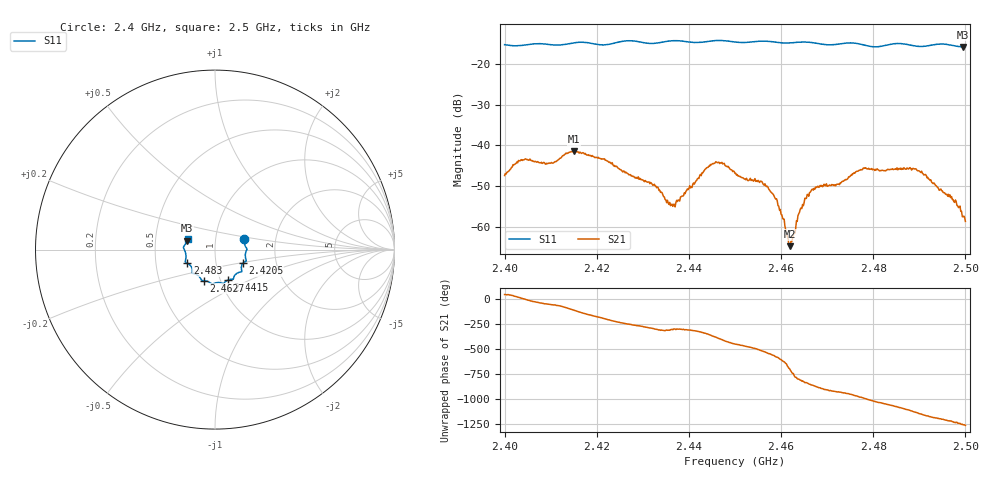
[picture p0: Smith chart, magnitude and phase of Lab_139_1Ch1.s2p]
# Hz S RI R 50
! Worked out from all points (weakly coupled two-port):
!   601 points, 2.4 GHz to 2.5 GHz, reference 50 ohm
!   highest |S21| = -41.45 dB at 2.415 GHz (marker M1); lowest = -64.8 dB at 2.462 GHz (marker M2)
!   lowest |S11| = -15.8 dB at 2.4995 GHz (marker M3), VSWR 1.39, Z = 36.4 + j3.79 ohm
!   |S11| at or under -10 dB: start of sweep to end of sweep
!   S12 and S22 are empty: the file has one direction only
!   S11 on the Smith chart (normalised r, x): 2.4 GHz: 1.38, +0.16; 2.4205 GHz: 1.35, -0.21; 2.4415 GHz: 1.09, -0.38; 2.4627 GHz: 0.84, -0.30; 2.483 GHz: 0.73, -0.11; 2.5 GHz: 0.73, +0.09
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2.4e9  0.1635 0.0575  0.00309 0.00292  0 0  0 0
2.4035e9  0.1674 0.0222  0.00652 0.000982  0 0  0 0
2.415e9  0.173 -0.0571  -0.00318 -0.00785  0 0  0 0
2.416667e9  0.1745 -0.0635  -0.00593 -0.0053  0 0  0 0
2.4205e9  0.1557 -0.0759  -0.00694 0.000499  0 0  0 0
2.433333e9  0.1073 -0.1472  0.0019 0.00233  0 0  0 0
2.4365e9  0.1023 -0.1646  0.00111 0.00138  0 0  0 0
2.4415e9  0.0734 -0.1686  0.00285 0.00225  0 0  0 0
2.446e9  0.0476 -0.1887  0.00558 -0.0027  0 0  0 0
2.45e9  0.0301 -0.1845  -0.00016 -0.00451  0 0  0 0
2.457e9  -0.0191 -0.1899  -0.00314 5.54e-05  0 0  0 0
2.459333e9  -0.0329 -0.1812  -0.00124 0.00132  0 0  0 0
2.462e9  -0.0555 -0.1736  0.000569 7.73e-05  0 0  0 0
2.462667e9  -0.061 -0.173  0.000698 -0.000351  0 0  0 0
2.464167e9  -0.0699 -0.1725  -0.00013 -0.00163  0 0  0 0
2.466667e9  -0.0768 -0.1672  -0.00223 -0.00178  0 0  0 0
2.477833e9  -0.1261 -0.1177  4.72e-05 0.00525  0 0  0 0
2.483e9  -0.1542 -0.0752  0.00453 0.00211  0 0  0 0
2.483333e9  -0.1565 -0.074  0.00469 0.00181  0 0  0 0
2.490333e9  -0.1628 -0.0259  0.00155 -0.00436  0 0  0 0
2.4995e9  -0.1546 0.0506  -0.00132 -4.65e-06  0 0  0 0
2.5e9  -0.1529 0.0572  -0.00115 0.000126  0 0  0 0
